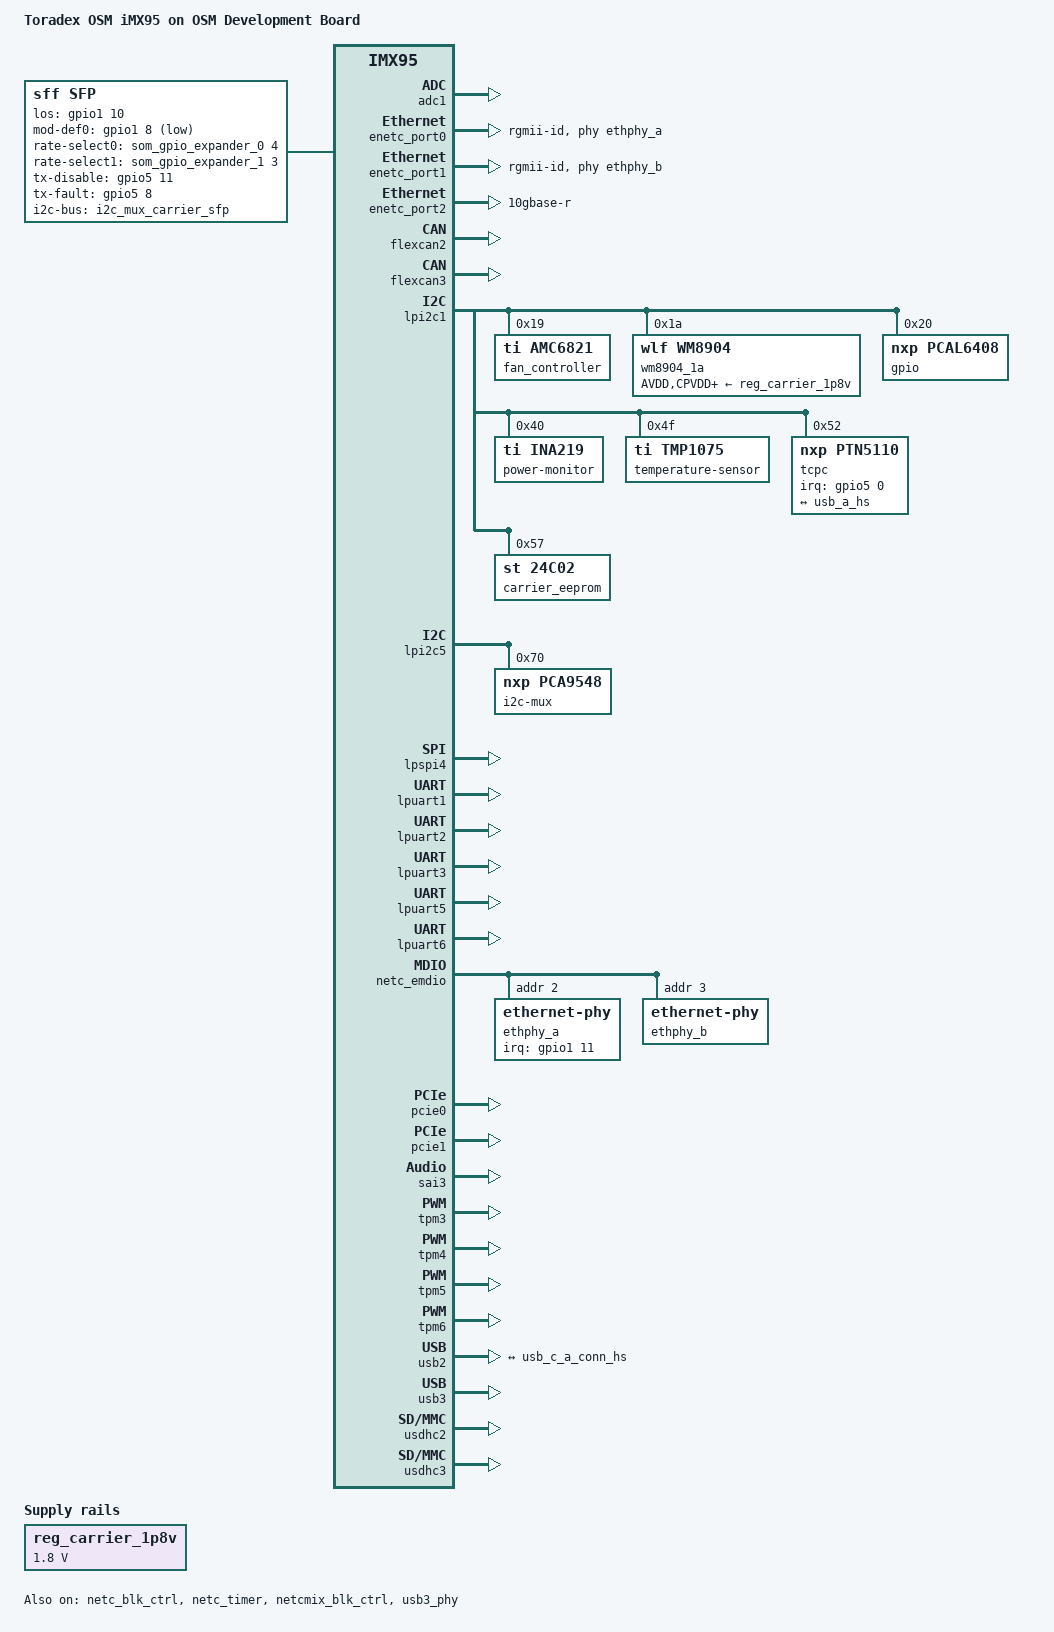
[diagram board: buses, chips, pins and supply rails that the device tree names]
// SPDX-License-Identifier: GPL-2.0-only OR MIT
/*
 * Copyright (c) Toradex
 *
 * https://www.toradex.com/computer-on-modules/osm-arm-family/nxp-imx95
 * https://www.toradex.com/products/carrier-board/osm-development-board
 */

/dts-v1/;

#include <dt-bindings/net/ti-dp83867.h>
#include <dt-bindings/pwm/pwm.h>
#include <dt-bindings/usb/pd.h>
#include "imx95-toradex-osm.dtsi"

/ {
	model = "Toradex OSM iMX95 on OSM Development Board";
	compatible = "toradex,osm-imx95-dev",
		     "toradex,osm-imx95",
		     "fsl,imx95";

	aliases {
		eeprom1 = &carrier_eeprom;
	};

	reg_carrier_1p8v: regulator-carrier-1p8v {
		compatible = "regulator-fixed";
		regulator-max-microvolt = <1800000>;
		regulator-min-microvolt = <1800000>;
		regulator-name = "On-carrier 1V8";
	};

	sfp: sfp {
		compatible = "sff,sfp";
		pinctrl-names = "default";
		pinctrl-0 = <&pinctrl_gpio_b0>, <&pinctrl_gpio_b1>,
			    <&pinctrl_gpio_b2>, <&pinctrl_gpio_b3>;
		i2c-bus = <&i2c_mux_carrier_sfp>;
		los-gpios = <&gpio1 10 GPIO_ACTIVE_HIGH>;
		maximum-power-milliwatt = <3000>;
		mod-def0-gpios = <&gpio1 8 GPIO_ACTIVE_LOW>;
		rate-select0-gpios = <&som_gpio_expander_0 4 GPIO_ACTIVE_HIGH>;
		rate-select1-gpios = <&som_gpio_expander_1 3 GPIO_ACTIVE_HIGH>;
		tx-disable-gpios = <&gpio5 11 GPIO_ACTIVE_HIGH>;
		tx-fault-gpios = <&gpio5 8 GPIO_ACTIVE_HIGH>;
	};

	sound {
		compatible = "simple-audio-card";
		simple-audio-card,bitclock-master = <&codec_dai>;
		simple-audio-card,format = "i2s";
		simple-audio-card,frame-master = <&codec_dai>;
		simple-audio-card,mclk-fs = <256>;
		simple-audio-card,name = "verdin-wm8904";
		simple-audio-card,routing =
			"Headphone Jack", "HPOUTL",
			"Headphone Jack", "HPOUTR",
			"IN2L", "Line In Jack",
			"IN2R", "Line In Jack",
			"Microphone Jack", "MICBIAS",
			"IN1L", "Microphone Jack";
		simple-audio-card,widgets =
			"Microphone", "Microphone Jack",
			"Headphone", "Headphone Jack",
			"Line", "Line In Jack";

		codec_dai: simple-audio-card,codec {
			clocks = <&scmi_clk IMX95_CLK_SAI3>;
			sound-dai = <&wm8904_1a>;
		};

		simple-audio-card,cpu {
			sound-dai = <&sai3>;
		};
	};
};

/* OSM ADC_0, ADC_1 */
&adc1 {
	status = "okay";
};

/* OSM ETH_A */
&enetc_port0 {
	phy-handle = <&ethphy_a>;
	phy-mode = "rgmii-id";

	status = "okay";
};

/* OSM ETH_B */
&enetc_port1 {
	phy-handle = <&ethphy_b>;
	phy-mode = "rgmii-id";

	status = "okay";
};

/* OSM ETH_C */
&enetc_port2 {
	managed = "in-band-status";
	phy-mode = "10gbase-r";
	sfp = <&sfp>;

	status = "okay";
};

/* OSM CAN_A */
&flexcan2 {
	status = "okay";
};

/* OSM CAN_B */
&flexcan3 {
	status = "okay";
};

&gpio5 {
	pinctrl-names = "default";
	pinctrl-0 = <&pinctrl_gpio_a1>, <&pinctrl_gpio_a2>, <&pinctrl_gpio_a3>,
		    <&pinctrl_gpio_a4>, <&pinctrl_gpio_a5>, <&pinctrl_gpio_a6>;
};

/* OSM I2C_A */
&lpi2c1 {
	status = "okay";

	fan_controller: fan-controller@19 {
		compatible = "ti,amc6821";
		reg = <0x19>;
		#pwm-cells = <2>;

		fan {
			cooling-levels = <255>;
			pwms = <&fan_controller 40000 PWM_POLARITY_INVERTED>;
		};
	};

	wm8904_1a: audio-codec@1a {
		compatible = "wlf,wm8904";
		reg = <0x1a>;
		clocks = <&scmi_clk IMX95_CLK_SAI3>;
		clock-names = "mclk";
		#sound-dai-cells = <0>;
		AVDD-supply = <&reg_carrier_1p8v>;
		CPVDD-supply = <&reg_carrier_1p8v>;
		DBVDD-supply = <&reg_carrier_1p8v>;
		DCVDD-supply = <&reg_carrier_1p8v>;
		MICVDD-supply = <&reg_carrier_1p8v>;
	};

	gpio@20 {
		compatible = "nxp,pcal6408";
		reg = <0x20>;
		#gpio-cells = <2>;
		gpio-controller;
		gpio-line-names =
			"PWR_CTRL_CAN_A", /* 0 */
			"PWR_CTRL_CAN_B",
			"PWR_CTRL_USB-HUB",
			"LVDS_MUX_CTRL",
			"USB_MUX_CTRL",
			"I2CA_IOEXP_P5",
			"I2CA_IOEXP_P6",
			"I2CA_IOEXP_P7";

		lvds_mux_ctrl: lvds-mux-ctrl-hog {
			gpio-hog;
			gpios = <3 GPIO_ACTIVE_HIGH>;
			line-name = "LVDS_MUX_CTRL";
			output-low;
		};

		usb_mux_ctrl: usb-mux-ctrl-hog {
			gpio-hog;
			gpios = <4 GPIO_ACTIVE_HIGH>;
			line-name = "USB_MUX_CTRL";
			output-high;
		};
	};

	power-monitor@40 {
		compatible = "ti,ina219";
		reg = <0x40>;
		shunt-resistor = <10000>;
	};

	temperature-sensor@4f {
		compatible = "ti,tmp1075";
		reg = <0x4f>;
	};

	tcpc@52 {
		compatible = "nxp,ptn5110", "tcpci";
		reg = <0x52>;
		pinctrl-names = "default";
		pinctrl-0 = <&pinctrl_gpio_a0>;
		interrupt-parent = <&gpio5>;
		interrupts = <0 IRQ_TYPE_LEVEL_LOW>;

		connector {
			compatible = "usb-c-connector";
			data-role = "dual";
			label = "USB_A";
			op-sink-microwatt = <0>;
			power-role = "dual";
			try-power-role = "sink";
			self-powered;
			sink-pdos = <PDO_FIXED(5000, 0, PDO_FIXED_USB_COMM)>;
			source-pdos = <PDO_FIXED(5000, 3000, PDO_FIXED_USB_COMM)>;

			port {
				usb_c_a_conn_hs: endpoint {
					remote-endpoint = <&usb_a_hs>;
				};
			};
		};
	};

	carrier_eeprom: eeprom@57 {
		compatible = "st,24c02", "atmel,24c02";
		reg = <0x57>;
		pagesize = <16>;
	};
};

/* OSM I2C_B */
&lpi2c5 {
	status = "okay";

	i2c-mux@70 {
		compatible = "nxp,pca9548";
		reg = <0x70>;
		#address-cells = <1>;
		#size-cells = <0>;

		i2c_mux_carrier_cam_a: i2c@0 {
			reg = <0>;
			#address-cells = <1>;
			#size-cells = <0>;
		};

		i2c_mux_carrier_lvds: i2c@1 {
			reg = <1>;
			#address-cells = <1>;
			#size-cells = <0>;
		};

		/* I2C on DSI connector pin #4 and #6 */
		i2c_mux_carrier_dsi_1: i2c@2 {
			reg = <2>;
			#address-cells = <1>;
			#size-cells = <0>;
		};

		/* I2C on DSI connector pin #52 and #54 */
		i2c_mux_carrier_dsi_2: i2c@3 {
			reg = <3>;
			#address-cells = <1>;
			#size-cells = <0>;
		};

		i2c_mux_carrier_cam_b: i2c@4 {
			reg = <4>;
			#address-cells = <1>;
			#size-cells = <0>;
		};

		i2c_mux_carrier_sfp: i2c@5 {
			reg = <5>;
			#address-cells = <1>;
			#size-cells = <0>;
		};
	};
};

/* OSM SPI_A */
&lpspi4 {
	status = "okay";
};

/* OSM UART_CON, used as the Linux Console */
&lpuart1 {
	status = "okay";
};

/* OSM UART_D */
&lpuart2 {
	status = "okay";
};

/* OSM UART_C */
&lpuart3 {
	status = "okay";
};

/* OSM UART_B */
&lpuart5 {
	status = "okay";
};

/* OSM UART_A */
&lpuart6 {
	status = "okay";
};

&netc_blk_ctrl {
	status = "okay";
};

/* OSM MDIO, shared between all ethernet ports */
&netc_emdio {
	pinctrl-names = "default";
	pinctrl-0 = <&pinctrl_mdio>;

	status = "okay";

	ethphy_a: ethernet-phy@2 {
		reg = <2>;
		pinctrl-names = "default";
		pinctrl-0 = <&pinctrl_gpio_a7>;
		interrupt-parent = <&gpio1>;
		interrupts = <11 IRQ_TYPE_LEVEL_LOW>;
		ti,rx-internal-delay = <DP83867_RGMIIDCTL_2_00_NS>;
		ti,tx-internal-delay = <DP83867_RGMIIDCTL_2_00_NS>;
	};

	ethphy_b: ethernet-phy@3 {
		reg = <3>;
		ti,rx-internal-delay = <DP83867_RGMIIDCTL_2_00_NS>;
		ti,tx-internal-delay = <DP83867_RGMIIDCTL_2_00_NS>;
	};
};

&netc_timer {
	status = "okay";
};

&netcmix_blk_ctrl {
	status = "okay";
};

&pcie0 {
	status = "okay";
};

&pcie1 {
	status = "okay";
};

/* OSM I2S_A */
&sai3 {
	status = "okay";
};

/* OSM PWM_0 */
&tpm3 {
	status = "okay";
};

/* OSM PWM_1 */
&tpm4 {
	status = "okay";
};

/* OSM PWM_2 */
&tpm5 {
	status = "okay";
};

/* OSM PWM_3 */
&tpm6 {
	status = "okay";
};

/* OSM USB_A */
&usb2 {
	status = "okay";

	port {
		usb_a_hs: endpoint {
			remote-endpoint = <&usb_c_a_conn_hs>;
		};
	};
};

/* OSM USB_C */
&usb3 {
	status = "okay";
};

&usb3_phy {
	status = "okay";
};

/* OSM SDIO_A */
&usdhc2 {
	status = "okay";
};

/* OSM SDIO_B */
&usdhc3 {
	status = "okay";
};
